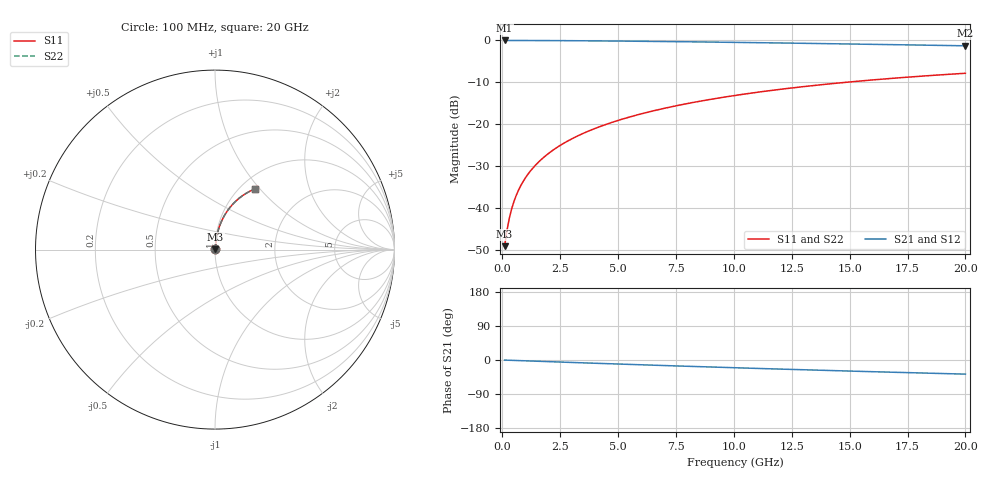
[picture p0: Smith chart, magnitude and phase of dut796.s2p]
! Touchstone file exported from HFSS 2024.1.0
!  File:  C:/UserFiles/LocalFiles/RDL_TSV_Batchsim/temp_RDL_bottom_796_1779861755.aedt
!  Generated:  02:05:15 PM May 27, 2026
!  Design:  RDL_bottom
!  Project:  temp_RDL_bottom_796_1779861755
!  Setup:  Setup1
!  Solution:  Sweep
! Variables:
!  dtsv = 10.80580581um
!  hbump = 3um
!  htsv = 90.67um
!  ldown = 485.8um
!  lrdl = 100um
!  p = 40
!  p1 = 50.86um
!  rhole = 1um
!  t = 450um
!  tdown = 4.55um
!  trdl = 3.915915916um
!  wdown = 15.04um
!  wrdl = 20um
# GHz S MA R 50.000000
! Terminal data exported
! Port[1] = RDL1_T1
! Port[2] = RDL1_T2
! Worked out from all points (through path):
!   200 points, 100 MHz to 20 GHz, reference 50 ohm
!   highest |S21| = -0.02 dB at 100 MHz (marker M1); lowest = -1.3 dB at 20 GHz (marker M2)
!   group delay of S21, straight-line fit = 5.17 ps
!   lowest |S11| = -49.1 dB at 100 MHz (marker M3), VSWR 1.01, Z = 50.3 + j0.234 ohm
!   |S11| at or under -10 dB: start of sweep to 14.85 GHz
!   |S22| runs from -49.1 to -7.8 dB; largest |S21 - S12| = 2.1e-15
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0.1  0.003503 41.6  0.9974 -0.2  0.9974 -0.2  0.003503 41.6
! Gamma 0 0 0 0
! Port Impedance 50 0 50 0
0.2  0.005359 60.1  0.9973 -0.4  0.9973 -0.4  0.005359 60.1
0.3  0.007475 68.4  0.9972 -0.7  0.9972 -0.7  0.007475 68.4
0.4  0.009667 72.8  0.9971 -0.9  0.9971 -0.9  0.009667 72.8
0.5  0.01188 75.4  0.9969 -1.1  0.9969 -1.1  0.01188 75.4
0.6  0.0141 77.2  0.9968 -1.3  0.9968 -1.3  0.0141 77.2
0.8  0.01852 79.3  0.9966 -1.8  0.9966 -1.8  0.01852 79.3
1.1  0.02511 81.0  0.9961 -2.4  0.9961 -2.4  0.02511 81.0
1.5  0.03388 82.1  0.9953 -3.3  0.9953 -3.3  0.03388 82.1
1.8  0.04046 82.5  0.9947 -3.9  0.9947 -3.9  0.04046 82.5
2.1  0.04705 82.6  0.9939 -4.6  0.9939 -4.6  0.04704 82.6
2.7  0.06023 82.6  0.9919 -5.9  0.9919 -5.9  0.06023 82.6
3.5  0.07783 82.0  0.9888 -7.5  0.9888 -7.5  0.07783 82.0
4.2  0.09325 81.3  0.9855 -9.0  0.9855 -9.0  0.09325 81.3
5  0.1109 80.4  0.9812 -10.7  0.9812 -10.7  0.1109 80.4
5.9  0.1306 79.2  0.9759 -12.5  0.9759 -12.5  0.1306 79.2
6.8  0.1503 77.9  0.9702 -14.3  0.9702 -14.3  0.1503 77.9
8.3  0.1829 75.6  0.9597 -17.2  0.9597 -17.2  0.1829 75.6
10.1  0.2212 72.7  0.9462 -20.6  0.9462 -20.6  0.2212 72.7
13.4  0.2883 67.2  0.9192 -26.5  0.9192 -26.5  0.2883 67.2
16.7  0.3499 61.8  0.8905 -32.1  0.8905 -32.1  0.3499 61.8
20  0.405 56.6  0.8612 -37.3  0.8612 -37.3  0.4051 56.6
